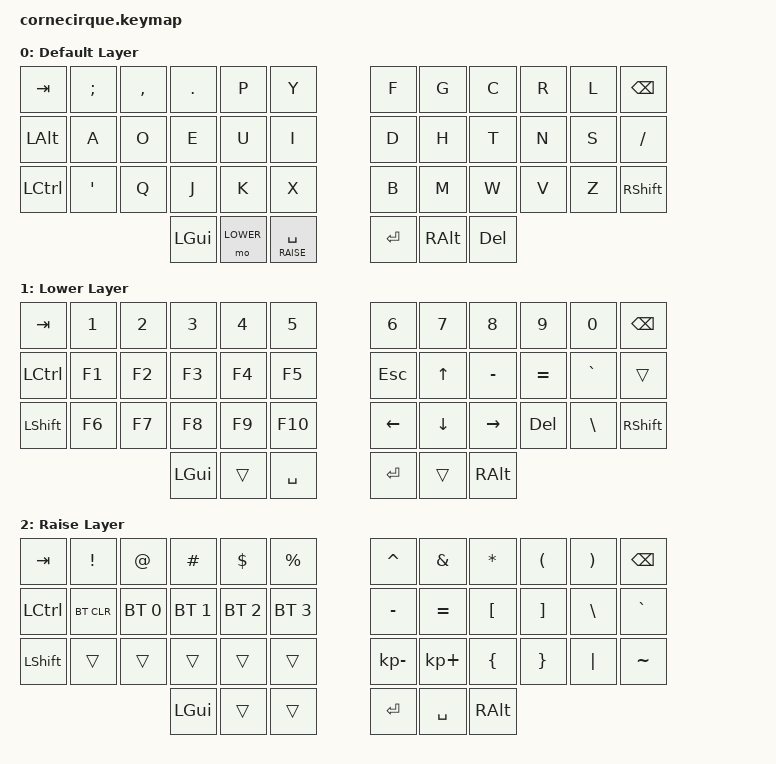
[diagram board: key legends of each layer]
/*
 * Copyright (c) 2020 The ZMK Contributors
 *
 * SPDX-License-Identifier: MIT
 */

#include <behaviors.dtsi>
#include <dt-bindings/zmk/keys.h>
#include <dt-bindings/zmk/bt.h>

#define DEFAULT 0
#define LOWER   1
#define RAISE   2

/ {
        keymap {
                compatible = "zmk,keymap";

                default_layer {
                        display-name = "Default Layer";
        // -----------------------------------------------------------------------------------------
        // | TAB   |  ;  |  ,  |  .  |  P  |  Y  |   |  F  |  G   |  C  |  R  |  L  |  BSPC  |
        // | LALT  |  A  |  O  |  E  |  U  |  I  |   |  D  |  H   |  T  |  N  |  S  |   /    |
        // | LCTRL |  '  |  Q  |  J  |  K  |  X  |   |  B  |  M   |  W  |  V  |  Z  | RSHITF |
        //                    | GUI | ESC(LOWER) | SPC(RAISE) |   | ENT | RSE  | ALT |
                        bindings = <
   &kp TAB          &kp SEMICOLON    &kp COMMA &kp PERIOD &kp P &kp Y       &kp F &kp G  &kp C  &kp R  &kp L   &kp BACKSPACE
   &kp LEFT_ALT     &kp A            &kp O     &kp E      &kp U &kp I       &kp D &kp H  &kp T  &kp N  &kp S   &kp SLASH
   &kp LEFT_CONTROL &kp SINGLE_QUOTE &kp Q     &kp J      &kp K &kp X       &kp B &kp M  &kp W  &kp V  &kp Z   &kp RIGHT_SHIFT
                     &kp LGUI         &mo LOWER &lt RAISE SPACE              &kp ENTER    &kp RIGHT_ALT &kp DELETE                      >;
                };
                lower_layer {
                        display-name = "Lower Layer";
        // -----------------------------------------------------------------------------------------
        // |  TAB  |  1  |  2  |  3  |  4  |  5  |   |  6   |  7   |   8   |   9    |     0     |  BSPC  |
        // | LCTRL |  F1 |  F2 |  F3 |  F4 |  F5 |   | ESC  |  UP  | MINUS | EQUAL  |   GRAVE   |        |
        // | SHFT  |  F6 |  F7 |  F8 |  F9 | F10 |   | LEFT | DOWN | RIGHT | DELETE | BACKSLASH | RSHIFT |
        //                     | GUI |     | SPC |   | ENT  |      | ALT |
                        bindings = <
   &kp TAB      &kp N1  &kp N2 &kp N3 &kp N4 &kp N5      &kp N6    &kp N7   &kp N8    &kp N9     &kp N0    &kp BSPC
   &kp LCTRL    &kp F1  &kp F2 &kp F3 &kp F4 &kp F5      &kp ESC   &kp UP   &kp MINUS &kp EQUAL  &kp GRAVE &trans
   &kp LSHFT    &kp F6  &kp F7 &kp F8 &kp F9 &kp F10     &kp LEFT  &kp DOWN &kp RIGHT &kp DELETE &kp BSLH  &kp RSHIFT
                &kp LGUI       &trans &kp SPACE          &kp ENTER &trans   &kp RALT
                        >;
                };

                raise_layer {
                        display-name = "Raise Layer";
        // -----------------------------------------------------------------------------------------
        // |  TAB |  !  |  @  |  #  |  $  |  %  |   |  ^  |  &  |  *  |  (  |  )  | BSPC |
        // | CTRL |     |     |     |     |     |   |  -  |  =  |  [  |  ]  |  \  |  `   |
        // | SHFT |     |     |     |     |     |   |  _  |  +  |  {  |  }  | "|" |  ~   |
        //                    | GUI |     | SPC |   | ENT |     | ALT |
                        bindings = <
   &kp TAB   &kp EXCL   &kp AT       &kp HASH     &kp DLLR     &kp PRCNT         &kp CARET    &kp AMPS    &kp ASTRK  &kp LPAR &kp RPAR &kp BSPC
   &kp LCTRL &bt BT_CLR &bt BT_SEL 0 &bt BT_SEL 1 &bt BT_SEL 2 &bt BT_SEL 3      &kp MINUS    &kp EQUAL   &kp LBKT   &kp RBKT &kp BSLH &kp GRAVE
   &kp LSHFT &trans     &trans       &trans       &trans       &trans            &kp KP_MINUS &kp KP_PLUS &kp LBRC   &kp RBRC &kp PIPE &kp TILDE
                                     &kp LGUI     &trans       &trans            &kp ENTER    &kp SPACE   &kp RALT
                        >;
                };
        };
};
